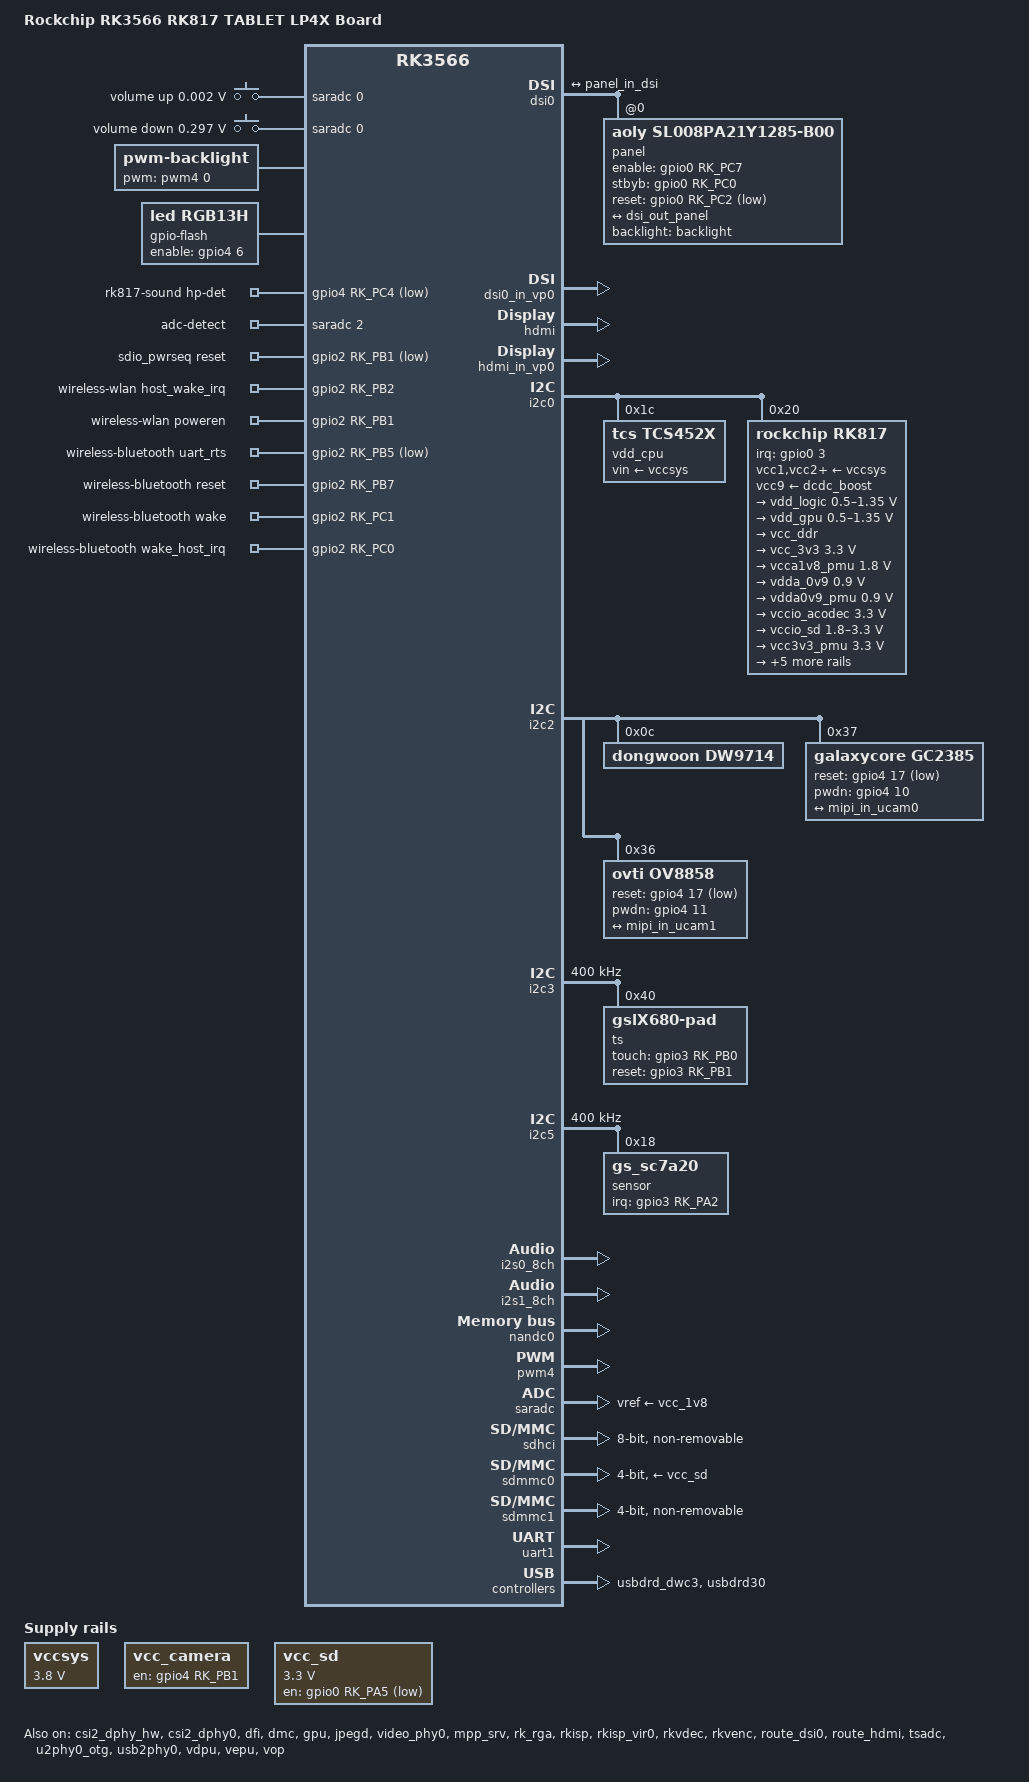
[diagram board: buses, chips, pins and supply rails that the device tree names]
// SPDX-License-Identifier: (GPL-2.0+ OR MIT)
/*
 * Copyright (c) 2020 Rockchip Electronics Co., Ltd.
 *
 */

/dts-v1/;

#include <dt-bindings/gpio/gpio.h>
#include <dt-bindings/pinctrl/rockchip.h>
#include <dt-bindings/input/rk-input.h>
#include <dt-bindings/sensor-dev.h>
#include <dt-bindings/display/drm_mipi_dsi.h>
#include "rk3566.dtsi"
#include "rk3568-android.dtsi"

/ {
	model = "Rockchip RK3566 RK817 TABLET LP4X Board";
	compatible = "rockchip,rk3566-rk817-tablet", "rockchip,rk3566";

	adc_keys: adc-keys {
		compatible = "adc-keys";
		io-channels = <&saradc 0>;
		io-channel-names = "buttons";
		keyup-threshold-microvolt = <1800000>;
		poll-interval = <100>;

		vol-up-key {
			label = "volume up";
			linux,code = <KEY_VOLUMEUP>;
			press-threshold-microvolt = <1750>;
		};

		vol-down-key {
			label = "volume down";
			linux,code = <KEY_VOLUMEDOWN>;
			press-threshold-microvolt = <297500>;
		};
	};

	backlight: backlight {
		compatible = "pwm-backlight";
		pwms = <&pwm4 0 25000 0>;
		brightness-levels = <
			  0  20  20  21  21  22  22  23
			 23  24  24  25  25  26  26  27
			 27  28  28  29  29  30  30  31
			 31  32  32  33  33  34  34  35
			 35  36  36  37  37  38  38  39
			 40  41  42  43  44  45  46  47
			 48  49  50  50  51  52  53  54
			 55  55  56  57  58  59  60  61
			 62  63  64  64  65  65  66  67
			 68  69  70  71  71  72  73  74
			 75  76  77  78  79  79  80  81
			 82  83  84  85  86  86  87  88
			 89  90  91  92  93  94  94  95
			 96  97  98  99 100 101 101 102
			103 104 105 106 107 107 108 109
			110 111 112 113 114 115 115 116
			117 118 119 120 121 122 123 123
			124 125 126 127 128 129 130 130
			131 132 133 134 135 136 136 137
			138 139 140 141 142 143 143 144
			145 146 147 147 148 149 150 151
			152 153 154 155 156 156 157 158
			159 157 158 159 160 161 162 162
			163 164 165 166 167 168 169 169
			170 171 172 173 174 175 175 176
			177 178 179 180 181 182 182 183
			184 185 186 187 188 189 190 190
			191 192 193 194 195 196 197 197
			198 199 200 201 202 203 204 204
			205 206 207 208 209 209 210 211
			212 213 213 214 214 215 215 216
			216 217 217 218 218 219 219 220
		>;
		default-brightness-level = <200>;
	};

	charge-animation {
		compatible = "rockchip,uboot-charge";
		rockchip,uboot-charge-on = <1>;
		rockchip,android-charge-on = <0>;
		rockchip,uboot-low-power-voltage = <3350>;
		rockchip,screen-on-voltage = <3400>;
		status = "okay";
	};

	flash_rgb13h: flash-rgb13h {
		status = "okay";
		compatible = "led,rgb13h";
		label = "gpio-flash";
		pinctrl-names = "default";
		pinctrl-0 = <&flash_led_gpios>;
		led-max-microamp = <20000>;
		flash-max-microamp = <20000>;
		flash-max-timeout-us = <1000000>;
		enable-gpio = <&gpio4 6 GPIO_ACTIVE_HIGH>;
		rockchip,camera-module-index = <0>;
		rockchip,camera-module-facing = "back";
	};

	hdmi_sound: hdmi-sound {
		compatible = "simple-audio-card";
		simple-audio-card,format = "i2s";
		simple-audio-card,mclk-fs = <128>;
		simple-audio-card,name = "rockchip,hdmi";
		status = "okay";

		simple-audio-card,cpu {
				sound-dai = <&i2s0_8ch>;
		};
		simple-audio-card,codec {
				sound-dai = <&hdmi>;
		};
	};

	vccsys: vccsys {
		compatible = "regulator-fixed";
		regulator-name = "vcc3v8_sys";
		regulator-always-on;
		regulator-boot-on;
		regulator-min-microvolt = <3800000>;
		regulator-max-microvolt = <3800000>;
	};

	vcc_camera: vcc-camera-regulator {
		compatible = "regulator-fixed";
		gpio = <&gpio4 RK_PB1 GPIO_ACTIVE_HIGH>;
		pinctrl-names = "default";
		pinctrl-0 = <&camera_rst>;
		regulator-name = "vcc_camera";
		enable-active-high;
		regulator-always-on;
		regulator-boot-on;
	};

	rk817-sound {
		compatible = "rockchip,multicodecs-card";
		rockchip,card-name = "rockchip-rk817";
		hp-det-gpio = <&gpio4 RK_PC4 GPIO_ACTIVE_LOW>;
		io-channels = <&saradc 2>;
		io-channel-names = "adc-detect";
		keyup-threshold-microvolt = <1800000>;
		poll-interval = <100>;
		rockchip,format = "i2s";
		rockchip,mclk-fs = <256>;
		rockchip,cpu = <&i2s1_8ch>;
		rockchip,codec = <&rk817_codec>;
		pinctrl-names = "default";
		pinctrl-0 = <&hp_det>;
		play-pause-key {
			label = "playpause";
			linux,code = <KEY_PLAYPAUSE>;
			press-threshold-microvolt = <2000>;
		};
	};

	sdio_pwrseq: sdio-pwrseq {
		compatible = "mmc-pwrseq-simple";
		clocks = <&rk817 1>;
		clock-names = "ext_clock";
		pinctrl-names = "default";
		pinctrl-0 = <&wifi_enable_h>;

		/*
		 * On the module itself this is one of these (depending
		 * on the actual card populated):
		 * - SDIO_RESET_L_WL_REG_ON
		 * - PDN (power down when low)
		 */
		post-power-on-delay-ms = <200>;
		reset-gpios = <&gpio2 RK_PB1 GPIO_ACTIVE_LOW>;
	};

	vcc_sd: vcc-sd {
		compatible = "regulator-gpio";
		enable-active-low;
		enable-gpio = <&gpio0 RK_PA5 GPIO_ACTIVE_LOW>;
		regulator-min-microvolt = <3300000>;
		regulator-max-microvolt = <3300000>;
		pinctrl-names = "default";
		pinctrl-0 = <&vcc_sd_h>;
		regulator-name = "vcc_sd";
		states = <3300000 0x0
			3300000 0x1>;
	};

	wireless-wlan {
		compatible = "wlan-platdata";
		rockchip,grf = <&grf>;
		wifi_chip_type = "ap6255";
		pinctrl-names = "default";
		pinctrl-0 = <&wifi_host_wake_irq>;
		WIFI,host_wake_irq = <&gpio2 RK_PB2 GPIO_ACTIVE_HIGH>;
		WIFI,poweren_gpio = <&gpio2 RK_PB1 GPIO_ACTIVE_HIGH>;
		status = "okay";
	};

	wireless-bluetooth {
		compatible = "bluetooth-platdata";
		clocks = <&rk817 1>;
		clock-names = "ext_clock";
		//wifi-bt-power-toggle;
		uart_rts_gpios = <&gpio2 RK_PB5 GPIO_ACTIVE_LOW>;
		pinctrl-names = "default", "rts_gpio";
		pinctrl-0 = <&uart1m0_rtsn>;
		pinctrl-1 = <&uart1_gpios>;
		BT,reset_gpio    = <&gpio2 RK_PB7 GPIO_ACTIVE_HIGH>;
		BT,wake_gpio     = <&gpio2 RK_PC1 GPIO_ACTIVE_HIGH>;
		BT,wake_host_irq = <&gpio2 RK_PC0 GPIO_ACTIVE_HIGH>;
		status = "okay";
	};
};

&cpu0 {
	cpu-supply = <&vdd_cpu>;
};

&csi2_dphy_hw {
	status = "okay";
};

&csi2_dphy0 {
	status = "okay";

	ports {
		#address-cells = <1>;
		#size-cells = <0>;
		port@0 {
			reg = <0>;
			#address-cells = <1>;
			#size-cells = <0>;

			mipi_in_ucam0: endpoint@0 {
				reg = <0>;
				remote-endpoint = <&gc2385_out>;
				data-lanes = <1>;
			};
			mipi_in_ucam1: endpoint@1 {
				reg = <1>;
				remote-endpoint = <&ov8858_out>;
				data-lanes = <1 2 3 4>;
			};
		};
		port@1 {
			reg = <1>;
			#address-cells = <1>;
			#size-cells = <0>;

			csidphy0_out: endpoint@0 {
				reg = <0>;
				remote-endpoint = <&isp0_in>;
			};
		};
	};
};

&dfi {
	status = "okay";
};

&dmc {
	center-supply = <&vdd_logic>;
	status = "okay";
};

&dsi0 {
	status = "okay";
	rockchip,lane-rate = <1000>;
	panel@0 {
		compatible = "aoly,sl008pa21y1285-b00", "simple-panel-dsi";
		reg = <0>;

		backlight = <&backlight>;
		//power-supply=<&vcc_3v3>;
		enable-gpios = <&gpio0 RK_PC7 GPIO_ACTIVE_HIGH>;
		stbyb-gpios = <&gpio0 RK_PC0 GPIO_ACTIVE_HIGH>;
		reset-gpios = <&gpio0 RK_PC2 GPIO_ACTIVE_LOW>;

		pinctrl-names = "default";
		pinctrl-0 = <&lcd_enable_gpio>, <&lcd_rst_gpio>, <&lcd_stanby_gpio>;

		prepare-delay-ms = <120>;
		reset-delay-ms = <120>;
		init-delay-ms = <120>;
		stbyb-delay-ms = <120>;
		enable-delay-ms = <120>;
		disable-delay-ms = <120>;
		unprepare-delay-ms = <120>;

		width-mm = <229>;
		height-mm = <143>;

		dsi,flags = <(MIPI_DSI_MODE_VIDEO | MIPI_DSI_MODE_VIDEO_BURST |
			      MIPI_DSI_MODE_LPM | MIPI_DSI_MODE_EOT_PACKET)>;
		dsi,format = <MIPI_DSI_FMT_RGB888>;
		dsi,lanes = <4>;

		panel-init-sequence = [
			23 00 02 B0 01
			23 00 02 C3 0F
			23 00 02 C4 00
			23 00 02 C5 00
			23 00 02 C6 00
			23 00 02 C7 00
			23 00 02 C8 0D
			23 00 02 C9 12
			23 00 02 CA 11
			23 00 02 CD 1D
			23 00 02 CE 1B
			23 00 02 CF 0B
			23 00 02 D0 09
			23 00 02 D1 07
			23 00 02 D2 05
			23 00 02 D3 01
			23 00 02 D7 10
			23 00 02 D8 00
			23 00 02 D9 00
			23 00 02 DA 00
			23 00 02 DB 00
			23 00 02 DC 0E
			23 00 02 DD 12
			23 00 02 DE 11
			23 00 02 E1 1E
			23 00 02 E2 1C
			23 00 02 E3 0C
			23 00 02 E4 0A
			23 00 02 E5 08
			23 00 02 E6 06
			23 00 02 E7 02
			23 00 02 B0 03
			23 00 02 BE 03
			23 00 02 CC 44
			23 00 02 C8 07
			23 00 02 C9 05
			23 00 02 CA 42
			23 00 02 CD 3E
			23 00 02 CF 60
			23 00 02 D2 04
			23 00 02 D3 04
			23 00 02 D4 01
			23 00 02 D5 00
			23 00 02 D6 03
			23 00 02 D7 04
			23 00 02 D9 01
			23 00 02 DB 01
			23 00 02 E4 F0
			23 00 02 E5 0A
			23 00 02 B0 00
			23 00 02 BA 8F// NEW ADD
			23 00 02 BD 63
			23 00 02 C2 08
			23 00 02 C4 10
			23 00 02 B0 02
			23 00 02 C0 00
			23 00 02 C1 0A
			23 00 02 C2 20
			23 00 02 C3 24
			23 00 02 C4 23
			23 00 02 C5 29
			23 00 02 C6 23
			23 00 02 C7 1C
			23 00 02 C8 19
			23 00 02 C9 17
			23 00 02 CA 17
			23 00 02 CB 18
			23 00 02 CC 1A
			23 00 02 CD 1E
			23 00 02 CE 20
			23 00 02 CF 23
			23 00 02 D0 07
			23 00 02 D1 00
			23 00 02 D2 00
			23 00 02 D3 0A
			23 00 02 D4 13
			23 00 02 D5 1C
			23 00 02 D6 1A
			23 00 02 D7 13
			23 00 02 D8 17
			23 00 02 D9 1C
			23 00 02 DA 19
			23 00 02 DB 17
			23 00 02 DC 17
			23 00 02 DD 18
			23 00 02 DE 1A
			23 00 02 DF 1E
			23 00 02 E0 20
			23 00 02 E1 23
			23 00 02 E2 07

			05 78 01 11
			05 32 01 29
		];

		panel-exit-sequence = [
			05 dc 01 28
			05 78 01 10
		];

		display-timings {
			native-mode = <&timing0>;

			timing0: timing0 {
				clock-frequency = <160000000>;
				hactive = <1200>;
				vactive = <1920>;

				hsync-len = <1>;//19
				hback-porch = <60>;//40
				hfront-porch = <80>;//123

				vsync-len = <1>;
				vback-porch = <25>;
				vfront-porch = <35>;

				hsync-active = <0>;
				vsync-active = <0>;
				de-active = <0>;
				pixelclk-active = <1>;
			};
		};

		ports {
			#address-cells = <1>;
			#size-cells = <0>;

			port@0 {
				reg = <0>;
				panel_in_dsi: endpoint {
					remote-endpoint = <&dsi_out_panel>;
				};
			};
		};
	};

	ports {
		#address-cells = <1>;
		#size-cells = <0>;

		port@1 {
			reg = <1>;
			dsi_out_panel: endpoint {
				remote-endpoint = <&panel_in_dsi>;
			};
		};
	};

};

&dsi0_in_vp0 {
	status = "okay";
};

&dsi0_in_vp1 {
	status = "disabled";
};

&gpu {
	mali-supply = <&vdd_gpu>;
	status = "okay";
};

&hdmi {
	status = "okay";
};

&hdmi_in_vp0 {
	status = "okay";
};

&hdmi_in_vp1 {
	status = "disabled";
};

&hdmi_sound {
	status = "okay";
};

&i2c0 {
	status = "okay";

	vdd_cpu: tcs4525@1c {
		compatible = "tcs,tcs452x";
		reg = <0x1c>;
		vin-supply = <&vccsys>;
		regulator-compatible = "fan53555-reg";
		regulator-name = "vdd_cpu";
		regulator-min-microvolt = <712500>;
		regulator-max-microvolt = <1390000>;
		regulator-init-microvolt = <900000>;
		regulator-ramp-delay = <2300>;
		fcs,suspend-voltage-selector = <1>;
		regulator-boot-on;
		regulator-always-on;
		regulator-state-mem {
			regulator-off-in-suspend;
		};
	};

	rk817: pmic@20 {
		compatible = "rockchip,rk817";
		reg = <0x20>;
		interrupt-parent = <&gpio0>;
		interrupts = <3 IRQ_TYPE_LEVEL_LOW>;

		pinctrl-names = "default", "pmic-sleep",
				"pmic-power-off", "pmic-reset";
		pinctrl-0 = <&pmic_int>;
		pinctrl-1 = <&soc_slppin_slp>, <&rk817_slppin_slp>;
		pinctrl-2 = <&soc_slppin_gpio>, <&rk817_slppin_pwrdn>;
		pinctrl-3 = <&soc_slppin_gpio>, <&rk817_slppin_rst>;
		rockchip,system-power-controller;
		wakeup-source;
		#clock-cells = <1>;
		clock-output-names = "rk808-clkout1", "rk808-clkout2";
		//fb-inner-reg-idxs = <2>;
		/* 1: rst regs (default in codes), 0: rst the pmic */
		pmic-reset-func = <0>;
		/* not save the PMIC_POWER_EN register in uboot */
		not-save-power-en = <1>;

		vcc1-supply = <&vccsys>;
		vcc2-supply = <&vccsys>;
		vcc3-supply = <&vccsys>;
		vcc4-supply = <&vccsys>;
		vcc5-supply = <&vccsys>;
		vcc6-supply = <&vccsys>;
		vcc7-supply = <&vccsys>;
		vcc8-supply = <&vccsys>;
		vcc9-supply = <&dcdc_boost>;

		pwrkey {
			status = "okay";
		};

		pinctrl_rk8xx: pinctrl_rk8xx {
			gpio-controller;
			#gpio-cells = <2>;

			rk817_slppin_null: rk817_slppin_null {
				pins = "gpio_slp";
				function = "pin_fun0";
			};

			rk817_slppin_slp: rk817_slppin_slp {
				pins = "gpio_slp";
				function = "pin_fun1";
			};

			rk817_slppin_pwrdn: rk817_slppin_pwrdn {
				pins = "gpio_slp";
				function = "pin_fun2";
			};

			rk817_slppin_rst: rk817_slppin_rst {
				pins = "gpio_slp";
				function = "pin_fun3";
			};
		};

		regulators {
			vdd_logic: DCDC_REG1 {
				regulator-always-on;
				regulator-boot-on;
				regulator-min-microvolt = <500000>;
				regulator-max-microvolt = <1350000>;
				regulator-init-microvolt = <900000>;
				regulator-ramp-delay = <6001>;
				regulator-initial-mode = <0x2>;
				regulator-name = "vdd_logic";
				regulator-state-mem {
					regulator-off-in-suspend;
					regulator-suspend-microvolt = <900000>;
				};
			};

			vdd_gpu: DCDC_REG2 {
				regulator-always-on;
				regulator-boot-on;
				regulator-min-microvolt = <500000>;
				regulator-max-microvolt = <1350000>;
				regulator-init-microvolt = <900000>;
				regulator-ramp-delay = <6001>;
				regulator-initial-mode = <0x2>;
				regulator-name = "vdd_gpu";
				regulator-state-mem {
					regulator-off-in-suspend;
				};
			};

			vcc_ddr: DCDC_REG3 {
				regulator-always-on;
				regulator-boot-on;
				regulator-initial-mode = <0x2>;
				regulator-name = "vcc_ddr";
				regulator-state-mem {
					regulator-on-in-suspend;
				};
			};

			vcc_3v3: DCDC_REG4 {
				regulator-always-on;
				regulator-boot-on;
				regulator-min-microvolt = <3300000>;
				regulator-max-microvolt = <3300000>;
				regulator-initial-mode = <0x2>;
				regulator-name = "vcc_3v3";
				regulator-state-mem {
					regulator-off-in-suspend;
				};
			};

			vcca1v8_pmu: LDO_REG1 {
				regulator-always-on;
				regulator-boot-on;
				regulator-min-microvolt = <1800000>;
				regulator-max-microvolt = <1800000>;
				regulator-name = "vcca1v8_pmu";
				regulator-state-mem {
					regulator-on-in-suspend;
					regulator-suspend-microvolt = <1800000>;
				};
			};

			vdda_0v9: LDO_REG2 {
				regulator-always-on;
				regulator-boot-on;
				regulator-min-microvolt = <900000>;
				regulator-max-microvolt = <900000>;
				regulator-name = "vdda_0v9";
				regulator-state-mem {
					regulator-off-in-suspend;
				};
			};

			vdda0v9_pmu: LDO_REG3 {
				regulator-always-on;
				regulator-boot-on;
				regulator-min-microvolt = <900000>;
				regulator-max-microvolt = <900000>;
				regulator-name = "vdda0v9_pmu";
				regulator-state-mem {
					regulator-on-in-suspend;
					regulator-suspend-microvolt = <900000>;
				};
			};

			vccio_acodec: LDO_REG4 {
				regulator-always-on;
				regulator-boot-on;
				regulator-min-microvolt = <3300000>;
				regulator-max-microvolt = <3300000>;
				regulator-name = "vccio_acodec";
				regulator-state-mem {
					regulator-off-in-suspend;
				};
			};

			vccio_sd: LDO_REG5 {
				regulator-always-on;
				regulator-boot-on;
				regulator-min-microvolt = <1800000>;
				regulator-max-microvolt = <3300000>;
				regulator-name = "vccio_sd";
				regulator-state-mem {
					regulator-off-in-suspend;
				};
			};

			vcc3v3_pmu: LDO_REG6 {
				regulator-always-on;
				regulator-boot-on;
				regulator-min-microvolt = <3300000>;
				regulator-max-microvolt = <3300000>;
				regulator-name = "vcc3v3_pmu";
				regulator-state-mem {
					regulator-on-in-suspend;
					regulator-suspend-microvolt = <3000000>;
				};
			};

			vcc_1v8: LDO_REG7 {
				regulator-always-on;
				regulator-boot-on;
				regulator-min-microvolt = <1800000>;
				regulator-max-microvolt = <1800000>;
				regulator-name = "vcc_1v8";
				regulator-state-mem {
					regulator-off-in-suspend;
				};
			};

			vcc1v8_dvp: LDO_REG8 {
				regulator-always-on;
				regulator-boot-on;
				regulator-min-microvolt = <1800000>;
				regulator-max-microvolt = <1800000>;
				regulator-name = "vcc1v8_dvp";
				regulator-state-mem {
					regulator-off-in-suspend;
				};
			};

			vcc2v8_dvp: LDO_REG9 {
				regulator-always-on;
				regulator-boot-on;
				regulator-min-microvolt = <2800000>;
				regulator-max-microvolt = <2800000>;
				regulator-name = "vcc2v8_dvp";
				regulator-state-mem {
					regulator-off-in-suspend;
				};
			};

			dcdc_boost: BOOST {
				regulator-always-on;
				regulator-boot-on;
				regulator-min-microvolt = <4700000>;
				regulator-max-microvolt = <5400000>;
				regulator-name = "boost";
				regulator-state-mem {
					regulator-off-in-suspend;
				};
			};

			otg_switch: OTG_SWITCH {
				regulator-name = "otg_switch";
				regulator-state-mem {
					regulator-off-in-suspend;
				};
			};
		};

		battery {
			compatible = "rk817,battery";
			ocv_table = <3400 3513 3578 3687 3734 3752 3763
				     3766 3771 3784 3804 3836 3885 3925
				     3962 4005 4063 4114 4169 4227 4303>;
			design_capacity = <5000>;
			design_qmax = <5500>;
			bat_res = <100>;
			sleep_enter_current = <150>;
			sleep_exit_current = <180>;
			sleep_filter_current = <100>;
			power_off_thresd = <3350>;
			zero_algorithm_vol = <3850>;
			max_soc_offset = <60>;
			monitor_sec = <5>;
			sample_res = <10>;
			virtual_power = <0>;
		};

		charger {
			compatible = "rk817,charger";
			min_input_voltage = <4500>;
			max_input_current = <1500>;
			max_chrg_current = <2000>;
			max_chrg_voltage = <4300>;
			chrg_term_mode = <0>;
			chrg_finish_cur = <300>;
			virtual_power = <0>;
			dc_det_adc = <0>;
			extcon = <&usb2phy0>;
			gate_function_disable = <1>;
		};

		rk817_codec: codec {
			#sound-dai-cells = <0>;
			compatible = "rockchip,rk817-codec";
			clocks = <&cru I2S1_MCLKOUT>;
			clock-names = "mclk";
			assigned-clocks = <&cru I2S1_MCLKOUT>, <&cru I2S1_MCLK_TX_IOE>;
			assigned-clock-rates = <12288000>;
			assigned-clock-parents = <&cru I2S1_MCLKOUT_TX>, <&cru I2S1_MCLKOUT_TX>;
			pinctrl-names = "default";
			pinctrl-0 = <&i2s1m0_mclk>;
			hp-volume = <20>;
			spk-volume = <3>;
			out-l2spk-r2hp;
			spk-ctl-gpios = <&gpio0 RK_PA6 GPIO_ACTIVE_HIGH>;
			status = "okay";
		};
	};
};

&i2c2 {
	status = "okay";
	pinctrl-0 = <&i2c2m1_xfer>;

	dw9714: dw9714@c {
		compatible = "dongwoon,dw9714";
		status = "okay";
		reg = <0x0c>;
		rockchip,camera-module-index = <0>;
		rockchip,vcm-start-current = <10>;
		rockchip,vcm-rated-current = <85>;
		rockchip,vcm-step-mode = <5>;
		rockchip,camera-module-facing = "back";
	};

	gc2385: gc2385@37 {
		compatible = "galaxycore,gc2385";
		status = "okay";
		reg = <0x37>;
		clocks = <&cru CLK_CIF_OUT>;
		clock-names = "xvclk";
		power-domains = <&power RK3568_PD_VI>;
		pinctrl-names = "rockchip,camera_default";
		pinctrl-0 = <&cif_clk>;

		//reset pin control by hardware,used this pin switch to mipi input
		//1->2LANE(LANE 0&1) FRONT camera, 0->4LANE REAR camera
		reset-gpios = <&gpio4 17 GPIO_ACTIVE_LOW>;
		pwdn-gpios = <&gpio4 10 GPIO_ACTIVE_HIGH>;
		rockchip,camera-module-index = <1>;
		rockchip,camera-module-facing = "front";
		rockchip,camera-module-name = "HS5885-BNSM1018-V01";
		rockchip,camera-module-lens-name = "default";
		port {
			gc2385_out: endpoint {
				remote-endpoint = <&mipi_in_ucam0>;
				data-lanes = <1>;
			};
		};
	};

	ov8858: ov8858@36 {
		status = "okay";
		compatible = "ovti,ov8858";
		reg = <0x36>;
		clocks = <&cru CLK_CAM0_OUT>;
		clock-names = "xvclk";
		power-domains = <&power RK3568_PD_VI>;
		pinctrl-names = "rockchip,camera_default", "rockchip,camera_sleep";
		pinctrl-0 = <&cam_clkout0>;
		pinctrl-1 = <&cam_sleep>;
		//reset pin control by hardware,used this pin switch to mipi input
		//1->2LANE(LANE 0&1) FRONT camera, 0->4LANE REAR camera
		reset-gpios = <&gpio4 17 GPIO_ACTIVE_LOW>;
		pwdn-gpios = <&gpio4 11 GPIO_ACTIVE_HIGH>;
		rockchip,camera-module-index = <0>;
		rockchip,camera-module-facing = "back";
		rockchip,camera-module-name = "HS5885-BNSM1018-V01";
		rockchip,camera-module-lens-name = "default";
		flash-leds = <&flash_rgb13h>;
		lens-focus = <&dw9714>;
		port {
			ov8858_out: endpoint {
				remote-endpoint = <&mipi_in_ucam1>;
				data-lanes = <1 2 3 4>;
			};
		};
	};
};

&i2c3 {
	status = "okay";
	pinctrl-names = "default";
	pinctrl-0 = <&i2c3m1_xfer>;
	clock-frequency = <400000>;
	i2c-scl-rising-time-ns = <138>;
	i2c-scl-falling-time-ns = <4>;

	ts@40 {
		compatible = "gslX680-pad";
		reg = <0x40>;
		touch-gpio = <&gpio3 RK_PB0 IRQ_TYPE_LEVEL_HIGH>;
		reset-gpio = <&gpio3 RK_PB1 IRQ_TYPE_LEVEL_HIGH>;
		pinctrl-names = "default";
		pinctrl-0 = <&tp_gpio>;
		screen_max_x = <1200>;
		screen_max_y = <1920>;
		revert_x = <0>;
		revert_y = <1>;
		revert_xy = <0>;
		chip_id = <1>;
		status = "okay";
	};
};

&i2c5 {
	status = "okay";
	clock-frequency = <400000>;
	i2c-scl-rising-time-ns = <144>;
	i2c-scl-falling-time-ns = <4>;

	sensor@18 {
		compatible = "gs_sc7a20";
		reg = <0x18>;
		type = <SENSOR_TYPE_ACCEL>;
		irq_enable = <0>;
		pinctrl-names = "default";
		pinctrl-0 = <&sensor_gpio>;
		irq-gpio = <&gpio3 RK_PA2 IRQ_TYPE_EDGE_RISING>;
		poll_delay_ms = <10>;
		layout = <1>;
	};
};

&i2s0_8ch {
	status = "okay";
};

&i2s1_8ch {
	status = "okay";
	rockchip,clk-trcm = <1>;
	pinctrl-names = "default";
	pinctrl-0 = <&i2s1m0_sclktx
		     &i2s1m0_lrcktx
		     &i2s1m0_sdi0
		     &i2s1m0_sdo0>;
};

&jpegd {
	status = "okay";
};

&jpegd_mmu {
	status = "okay";
};

&video_phy0 {
	status = "okay";
};

&mpp_srv {
	status = "okay";
};

&nandc0 {
	status = "okay";
};

&pinctrl {
	cam {
		cam_clkout0: cam-clkout0 {
			rockchip,pins =
				/* cam_clkout0 */
				<4 RK_PA7 1 &pcfg_pull_none>;
		};

		cam_sleep: cam-sleep {
			rockchip,pins =
				/* cam_sleep */
				<4 RK_PA7 RK_FUNC_GPIO &pcfg_pull_none>;
		};

		camera_rst: camera-rst {
			rockchip,pins =
				/* front camera reset */
				<4 RK_PB0 RK_FUNC_GPIO &pcfg_pull_none>,
				/* back camra reset */
				<4 RK_PB1 RK_FUNC_GPIO &pcfg_pull_none>;
		};

		flash_led_gpios: flash-led {
			rockchip,pins =
				/* flash led enable */
				<4 RK_PA6 RK_FUNC_GPIO &pcfg_pull_none>;
		};
	};

	tp {
		tp_gpio: tp-gpio {
			rockchip,pins = <3 RK_PB0 RK_FUNC_GPIO &pcfg_pull_up>,
					<3 RK_PB1 RK_FUNC_GPIO &pcfg_pull_none>;
		};
	};

	headphone {
		hp_det: hp-det {
			rockchip,pins = <4 RK_PC4 RK_FUNC_GPIO &pcfg_pull_down>;
		};
	};

	lcd {
		lcd_rst_gpio: lcd-rst-gpio {
			rockchip,pins = <0 RK_PC2 RK_FUNC_GPIO &pcfg_pull_none>;
		};

		lcd_enable_gpio: lcd-enable-gpio {
			rockchip,pins = <0 RK_PC7 RK_FUNC_GPIO &pcfg_pull_none>;
		};

		lcd_stanby_gpio: lcd-stanby-gpio {
			rockchip,pins = <0 RK_PC0 RK_FUNC_GPIO &pcfg_pull_down>;
		};
	};

	pmic {
		pmic_int: pmic_int {
			rockchip,pins =
				<0 RK_PA3 RK_FUNC_GPIO &pcfg_pull_up>;
		};

		soc_slppin_gpio: soc_slppin_gpio {
			rockchip,pins =
				<0 RK_PA2 RK_FUNC_GPIO &pcfg_output_low>;
		};

		soc_slppin_slp: soc_slppin_slp {
			rockchip,pins =
				<0 RK_PA2 1 &pcfg_pull_none>;
		};

		soc_slppin_rst: soc_slppin_rst {
			rockchip,pins =
				<0 RK_PA2 2 &pcfg_pull_none>;
		};
	};

	sensor {
		sensor_gpio: sensor-gpio {
			rockchip,pins = <3 RK_PA2 RK_FUNC_GPIO &pcfg_pull_none>;
		};
	};

	sdio-pwrseq {
		wifi_enable_h: wifi-enable-h {
			rockchip,pins = <2 RK_PB1 RK_FUNC_GPIO &pcfg_pull_none>;
		};
	};

	vcc_sd {
		vcc_sd_h: vcc-sd-h {
			rockchip,pins = <0 RK_PA5 RK_FUNC_GPIO &pcfg_pull_none>;
		};
	};

	wireless-wlan {
		wifi_host_wake_irq: wifi-host-wake-irq {
			rockchip,pins = <2 RK_PB2 RK_FUNC_GPIO &pcfg_pull_down>;
		};
	};

	wireless-bluetooth {
		uart1_gpios: uart1-gpios {
			rockchip,pins = <2 RK_PB5 RK_FUNC_GPIO &pcfg_pull_none>;
		};
	};
};

&pmu_io_domains {
	status = "okay";
	pmuio1-supply = <&vcc3v3_pmu>;
	pmuio2-supply = <&vcc3v3_pmu>;
	vccio1-supply = <&vccio_acodec>;
	vccio3-supply = <&vccio_sd>;
	vccio4-supply = <&vcca1v8_pmu>;
	vccio5-supply = <&vcc_1v8>;
	vccio6-supply = <&vcc1v8_dvp>;
	vccio7-supply = <&vcc_3v3>;
};

&pwm4 {
	status = "okay";
};

&rk_rga {
	status = "okay";
};

&rkisp {
	status = "okay";
};

&rkisp_mmu {
	status = "okay";
};

&rkisp_vir0 {
	status = "okay";

	port {
		#address-cells = <1>;
		#size-cells = <0>;

		isp0_in: endpoint@0 {
			reg = <0>;
			remote-endpoint = <&csidphy0_out>;
		};
	};
};

&rkvdec {
	status = "okay";
};

&rkvdec_mmu {
	status = "okay";
};

&rkvenc {
	status = "okay";
};

&rkvenc_mmu {
	status = "okay";
};

&route_dsi0 {
	status = "okay";
};

&route_hdmi {
	status = "okay";
	connect = <&vp0_out_hdmi>;
};

&saradc {
	status = "okay";
	vref-supply = <&vcc_1v8>;
};

&sdhci {
	bus-width = <8>;
	no-sdio;
	no-sd;
	non-removable;
	max-frequency = <200000000>;
	status = "okay";
};

&sdmmc0 {
	max-frequency = <150000000>;
	no-sdio;
	no-mmc;
	bus-width = <4>;
	cap-mmc-highspeed;
	cap-sd-highspeed;
	disable-wp;
	sd-uhs-sdr104;
	vmmc-supply = <&vcc_sd>;
	vqmmc-supply = <&vccio_sd>;
	pinctrl-names = "default";
	pinctrl-0 = <&sdmmc0_bus4 &sdmmc0_clk &sdmmc0_cmd &sdmmc0_det>;
	status = "okay";
};

&sdmmc1 {
	max-frequency = <150000000>;
	no-sd;
	no-mmc;
	bus-width = <4>;
	disable-wp;
	cap-sd-highspeed;
	cap-sdio-irq;
	keep-power-in-suspend;
	mmc-pwrseq = <&sdio_pwrseq>;
	non-removable;
	pinctrl-names = "default";
	pinctrl-0 = <&sdmmc1_bus4 &sdmmc1_cmd &sdmmc1_clk>;
	sd-uhs-sdr104;
	rockchip,default-sample-phase = <90>;
	status = "okay";
};

&tsadc {
	status = "okay";
};

&uart1 {
	status = "okay";
	pinctrl-names = "default";
	pinctrl-0 = <&uart1m0_xfer &uart1m0_ctsn>;
};

&u2phy0_otg {
	status = "okay";
};

&usb2phy0 {
	status = "okay";
};

&usbdrd_dwc3 {
	status = "okay";
};

&usbdrd30 {
	status = "okay";
};

&vdpu {
	status = "okay";
};

&vdpu_mmu {
	status = "okay";
};

&vepu {
	status = "okay";
};

&vepu_mmu {
	status = "okay";
};

&vop {
	status = "okay";
};

&vop_mmu {
	status = "okay";
};
